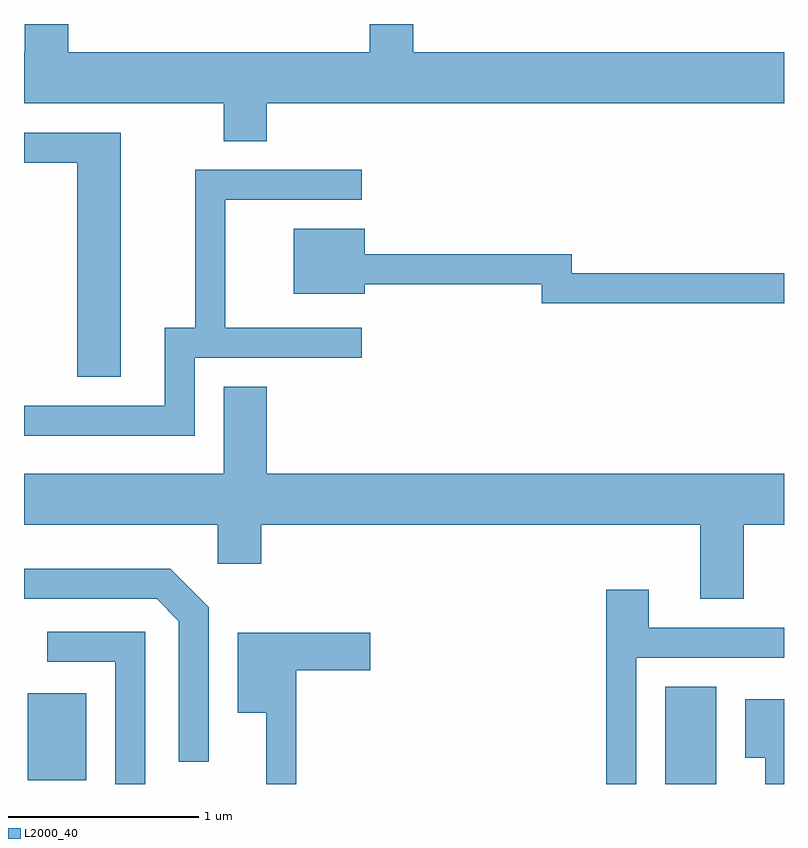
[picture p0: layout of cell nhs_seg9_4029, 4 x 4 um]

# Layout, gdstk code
import gdstk
lib = gdstk.Library(unit=1e-6, precision=1e-09)
def R(c, l, rs):  # rectangles x0, y0, x1, y1
    for r in rs: c.add(gdstk.rectangle(r[:2], r[2:], *l))
def P(c, l, *ps):  # polygons
    for p in ps: c.add(gdstk.Polygon(p, *l))
L2000_40 = (2000, 40)

nhs_seg9_4029 = lib.new_cell('nhs_seg9_4029')
R(nhs_seg9_4029, L2000_40, [(306.986,2010.432,307.254,2010.944), (303.631,2010.451,303.939,2010.909)])
P(nhs_seg9_4029, L2000_40, [(304.889,2014.016),(307.611,2014.016),(307.611,2014.284),(305.659,2014.284),(305.659,2014.432),(305.431,2014.432),(305.431,2014.284),(303.844,2014.284),(303.844,2014.432),(303.616,2014.432),(303.616,2014.284),(303.611,2014.284),(303.611,2014.016),(304.661,2014.016),(304.661,2013.816),(304.889,2013.816)],
  [(304.119,2013.859),(303.611,2013.859),(303.611,2013.701),(303.891,2013.701),(303.891,2012.576),(304.119,2012.576)],
  [(304.509,2012.676),(305.388,2012.676),(305.388,2012.834),(304.669,2012.834),(304.669,2013.506),(305.388,2013.506),(305.388,2013.664),(304.511,2013.664),(304.511,2012.834),(304.351,2012.834),(304.351,2012.424),(303.611,2012.424),(303.611,2012.266),(304.509,2012.266)],
  [(307.611,2013.119),(306.494,2013.119),(306.494,2013.219),(305.404,2013.219),(305.404,2013.354),(305.031,2013.354),(305.031,2013.011),(305.404,2013.011),(305.404,2013.061),(306.336,2013.061),(306.336,2012.961),(307.611,2012.961)],
  [(307.399,2011.796),(307.611,2011.796),(307.611,2012.064),(304.889,2012.064),(304.889,2012.524),(304.661,2012.524),(304.661,2012.064),(303.611,2012.064),(303.611,2011.796),(304.631,2011.796),(304.631,2011.591),(304.859,2011.591),(304.859,2011.796),(307.171,2011.796),(307.171,2011.406),(307.399,2011.406)],
  [(304.584,2011.362),(304.382,2011.564),(303.611,2011.564),(303.611,2011.406),(304.309,2011.406),(304.426,2011.289),(304.426,2010.548),(304.584,2010.548)],
  [(306.834,2011.096),(307.611,2011.096),(307.611,2011.254),(306.899,2011.254),(306.899,2011.454),(306.676,2011.454),(306.676,2010.432),(306.834,2010.432)],
  [(304.249,2011.234),(303.733,2011.234),(303.733,2011.076),(304.091,2011.076),(304.091,2010.432),(304.249,2010.432)],
  [(305.044,2011.031),(305.434,2011.031),(305.434,2011.229),(304.736,2011.229),(304.736,2010.806),(304.886,2010.806),(304.886,2010.432),(305.044,2010.432)],
  [(307.611,2010.879),(307.406,2010.879),(307.406,2010.571),(307.511,2010.571),(307.511,2010.432),(307.611,2010.432)])

lib.write_gds('nhs_seg9_4029.gds')
